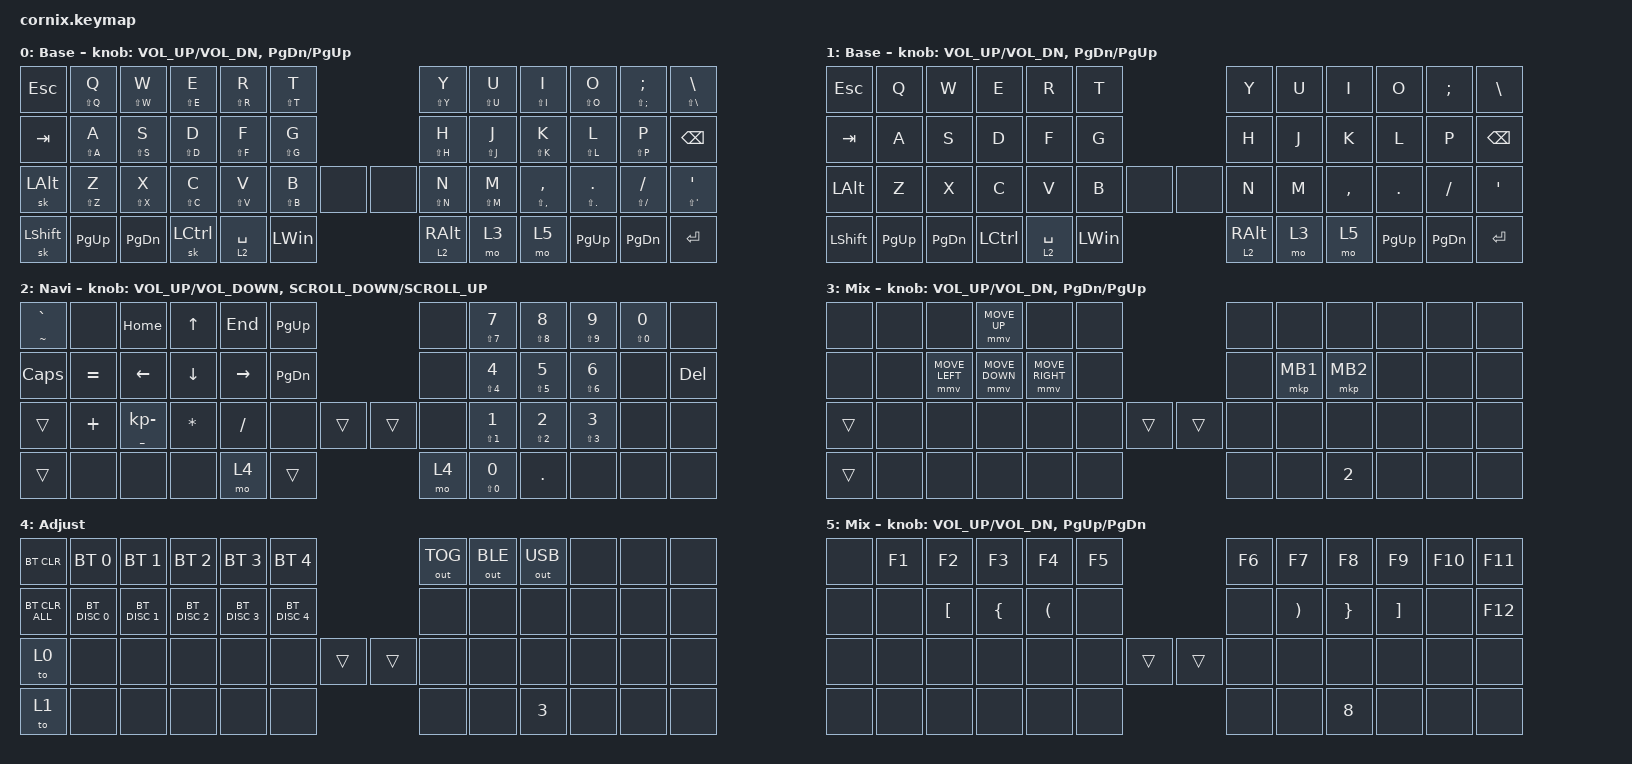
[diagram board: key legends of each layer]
/*
 * Copyright (c) 2020 The ZMK Contributors
 *
 * SPDX-License-Identifier: MIT
 */

#include "zmk-helpers/helper.h"
#include "includes/cornix54.h"

// tap windows for ctl alt and gui

#define HM_TAPPING_TERM 250
#define HM_TAPPING_REPEAT 210

// quick tapping for shift

#define HM_TAPPING_TERM_FAST 200
#define HM_PRIOR_IDLE 70
#define BASE 0
#define WIN 1
#define LOWER 2
#define RAISE 3
#define ADJUST 4
#define NAVI   5
#define NUM    6
#define DEBUG  7

// https://github.com/urob/zmk-config/tree/main#timeless-homerow-mods

#define KEYS_L LT0 LT1 LT2 LT3 LT4 LT5 LM0 LM1 LM2 LM3 LM4 LM5 LB0 LB1 LB2 LB3 LB4 LB5  // left hand
#define KEYS_R RT0 RT1 RT2 RT3 RT4 RT5 RM0 RM1 RM2 RM3 RM4 RM5 RB0 RB1 RB2 RB3 RB4 RB5  // right hand
#define THUMBS LH1 LH0 RH0 RH1
#define KEYS_T LH1 LH0 RH0 RH1
#define ZMK_POINTING_DEFAULT_SCRL_VAL 15

#include <behaviors.dtsi>
#include <dt-bindings/zmk/bt.h>
#include <dt-bindings/zmk/keys.h>
#include <dt-bindings/zmk/outputs.h>
#include <dt-bindings/zmk/pointing.h>

/ {
    // Activate ADJUST layer by pressing raise and lower

    behaviors {
        hm_l: homerow_mods_left {
            compatible = "zmk,behavior-hold-tap";
            #binding-cells = <2>;
            bindings = <&kp>, <&kp>;

            flavor = "balanced";
            tapping-term-ms = <HM_TAPPING_TERM>;
            quick-tap-ms = <200>;                // repeat on tap-into-hold
            require-prior-idle-ms = <HM_PRIOR_IDLE>;
            hold-trigger-key-positions = <KEYS_R KEYS_T>;
            hold-trigger-on-release;
        };

        hm_r: homerow_mods_right {
            compatible = "zmk,behavior-hold-tap";
            #binding-cells = <2>;
            bindings = <&kp>, <&kp>;

            flavor = "balanced";
            tapping-term-ms = <HM_TAPPING_TERM>;
            quick-tap-ms = <200>;
            require-prior-idle-ms = <HM_PRIOR_IDLE>;
            hold-trigger-key-positions = <KEYS_L KEYS_T>;
            hold-trigger-on-release;
        };

        // Positional Homerow mods for shift
        // Use faster tapping term and disable some features that may
        // cause false negatives.

        hm_shift_l: hm_shift_l {
            compatible = "zmk,behavior-hold-tap";
            #binding-cells = <2>;
            bindings = <&kp>, <&kp>;

            //flavor = "balanced";

            flavor = "balanced";
            tapping-term-ms = <HM_TAPPING_TERM_FAST>;
            quick-tap-ms = <200>;
            require-prior-idle-ms = <HM_PRIOR_IDLE>;
            hold-trigger-key-positions = <KEYS_R KEYS_T>;
            hold-trigger-on-release;
        };

        hm_shift_r: hm_shift_r {
            compatible = "zmk,behavior-hold-tap";
            #binding-cells = <2>;
            bindings = <&kp>, <&kp>;

            flavor = "balanced";
            tapping-term-ms = <HM_TAPPING_TERM_FAST>;
            quick-tap-ms = <200>;
            require-prior-idle-ms = <HM_PRIOR_IDLE>;
            hold-trigger-key-positions = <KEYS_L KEYS_T>;

            // for quick tapping; shift+~

            hold-trigger-on-release;
        };

        /*
         * Non-Positional Homerow Mods
         * Used for &mm_grescm_gui behavior on left hand.
         *
         * Usage: &hm LSHFT T
         * Tap: T
         * Tap-Tap-Hold: Repeat T
         * Hold: LSHIFT
         */

        hm: homerow_mods {
            compatible = "zmk,behavior-hold-tap";
            #binding-cells = <2>;
            bindings = <&kp>, <&kp>;

            flavor = "balanced";
            tapping-term-ms = <HM_TAPPING_TERM>;
            quick-tap-ms = <200>;
        };

        lt: layer_tap {
            compatible = "zmk,behavior-hold-tap";
            #binding-cells = <2>;
            bindings = <&mo>, <&kp>;

            flavor = "hold-preferred";
            tapping-term-ms = <HM_TAPPING_TERM>;
            quick-tap-ms = <200>;
        };

        autoShift: autoShift {
            compatible = "zmk,behavior-hold-tap";
            label = "AUTOSHIFT";
            bindings = <&kp>, <&kp>;

            #binding-cells = <2>;
            tapping-term-ms = <250>;
            flavor = "tap-preferred";
        };
    };

    conditional_layers { compatible = "zmk,conditional-layers"; };

    combos { compatible = "zmk,combos"; };

    keymap {
        compatible = "zmk,keymap";

        default_layer {
            display-name = "Base";

            // ------------------------------------------------------------------------------------------------------------
            // |   `   |  1  |  2  |  3   |  4   |  5   |                   |  6   |  7    |  8    |  9   |   0   |       |
            // |  ESC  |  Q  |  W  |  E   |  R   |  T   |                   |  Y   |  U    |  I    |  O   |   P   | BKSPC |
            // |  TAB  |  A  |  S  |  D   |  F   |  G   |                   |  H   |  J    |  K    |  L   |   ;   |   '   |
            // | SHIFT |  Z  |  X  |  C   |  V   |  B   |  MUTE  |  |       |  N   |  M    |  ,    |  .   |   /   | SHIFT |
            //               | GUI | ALT  | CTRL | LOWER|  ENTER |  | SPACE | RAISE| CTRL  | ALT   | GUI  |

            bindings = <
&kp ESC    &autoShift LS(Q) Q  &autoShift LS(W) W  &autoShift LS(E) E  &autoShift LS(R) R  &autoShift LS(T) T                &autoShift LS(Y) Y  &autoShift LS(U) U  &autoShift LS(I) I          &autoShift LS(O) O            &autoShift LS(SEMICOLON) SEMICOLON  &autoShift LS(BSLH) BSLH
&kp TAB    &autoShift LS(A) A  &autoShift LS(S) S  &autoShift LS(D) D  &autoShift LS(F) F  &autoShift LS(G) G                &autoShift LS(H) H  &autoShift LS(J) J  &autoShift LS(K) K          &autoShift LS(L) L            &autoShift LS(P) P                  &kp BACKSPACE
&sk LALT   &autoShift LS(Z) Z  &autoShift LS(X) X  &autoShift LS(C) C  &autoShift LS(V) V  &autoShift LS(B) B  &none  &none  &autoShift LS(N) N  &autoShift LS(M) M  &autoShift LS(COMMA) COMMA  &autoShift LS(PERIOD) PERIOD  &autoShift LS(SLASH) SLASH          &autoShift LS(SQT) SQT
&sk LSHFT  &kp PAGE_UP         &kp PAGE_DOWN       &sk LCTRL           &lt 2 SPACE         &kp LEFT_WIN                      &lt 2 RIGHT_ALT     &mo 3               &mo 5                       &kp PAGE_UP                   &kp PAGE_DOWN                       &kp ENTER
            >;

            sensor-bindings =
                <&inc_dec_kp C_VOL_UP C_VOL_DN>,
                <&inc_dec_kp PG_DN PG_UP>;
        };

        autooffLayer {
            display-name = "Base";
            bindings = <
&kp ESC    &kp Q        &kp W          &kp E      &kp R        &kp T                       &kp Y            &kp U  &kp I      &kp O        &kp SEMI       &kp BSLH
&kp TAB    &kp A        &kp S          &kp D      &kp F        &kp G                       &kp H            &kp J  &kp K      &kp L        &kp P          &kp BACKSPACE
&kp LALT   &kp Z        &kp X          &kp C      &kp V        &kp B         &none  &none  &kp N            &kp M  &kp COMMA  &kp DOT      &kp FSLH       &kp APOS
&kp LSHFT  &kp PAGE_UP  &kp PAGE_DOWN  &kp LCTRL  &lt 2 SPACE  &kp LEFT_WIN                &lt 2 RIGHT_ALT  &mo 3  &mo 5      &kp PAGE_UP  &kp PAGE_DOWN  &kp ENTER
            >;

            sensor-bindings =
                <&inc_dec_kp C_VOL_UP C_VOL_DN>,
                <&inc_dec_kp PG_DN PG_UP>;
        };

        Num_layer {
            display-name = "Navi";
            bindings = <
&autoShift TILDE GRAVE  &none      &kp HOME                   &kp UP_ARROW    &kp END          &kp PAGE_UP                    &none  &autoShift LS(N7) N7              &autoShift LS(N8) N8              &autoShift LS(N9) N9              &autoShift LS(N0) N0  &none
&kp CAPS                &kp EQUAL  &kp LEFT_ARROW             &kp DOWN_ARROW  &kp RIGHT_ARROW  &kp PAGE_DOWN                  &none  &autoShift LS(NUMBER_4) NUMBER_4  &autoShift LS(N5) N5              &autoShift LS(NUMBER_6) NUMBER_6  &none                 &kp DEL
&trans                  &kp PLUS   &autoShift UNDER KP_MINUS  &kp ASTERISK    &kp SLASH        &none          &trans  &trans  &none  &autoShift LS(NUMBER_1) NUMBER_1  &autoShift LS(NUMBER_2) NUMBER_2  &autoShift LS(NUMBER_3) NUMBER_3  &none                 &none
&trans                  &none      &none                      &none           &mo 4            &trans                         &mo 4  &autoShift LS(NUMBER_0) NUMBER_0  &kp DOT                           &none                             &none                 &none
            >;

            sensor-bindings =
                <&inc_dec_kp C_VOLUME_UP C_VOLUME_DOWN>,
                <&inc_dec_kp K_SCROLL_DOWN K_SCROLL_UP>;
        };

        Mouse_layer {
            display-name = "Mix";

            // ------------------------------------------------------------------------------------------------------------
            // | BTCLR | BT1  | BT2  |  BT3  |  BT4  |  BT5 |                |      |      |       |      |       |       |
            // |       | INS  | PSCR | GUI   |       |      |                | PGUP |      |   ^   |      |       |       |
            // |       | ALT  | CTRL | SHIFT |       | CAPS |                | PGDN |   <- |   v   |  ->  |  DEL  | BKSPC |
            // |       | UNDO | CUT  | COPY  | PASTE |      |      |  |      |      |      |       |      |       |       |
            //                |      |       |       |      |      |  |      |      |      |       |      |

            bindings = <
&none   &none  &none           &mmv MOVE_UP    &none            &none                  &none  &none     &none         &none  &none  &none
&none   &none  &mmv MOVE_LEFT  &mmv MOVE_DOWN  &mmv MOVE_RIGHT  &none                  &none  &mkp MB1  &mkp MB2      &none  &none  &none
&trans  &none  &none           &none           &none            &none  &trans  &trans  &none  &none     &none         &none  &none  &none
&trans  &none  &none           &none           &none            &none                  &none  &none     &kp NUMBER_2  &none  &none  &none
            >;

            sensor-bindings =
                <&inc_dec_kp C_VOL_UP C_VOL_DN>,
                <&inc_dec_kp PG_DN PG_UP>;
        };

        Adjust_layer {
            display-name = "Adjust";

            // ----------------------------------------------------------------------------------------------------------------------------
            // | BTCLR  |  BT1    |  BT2    |   BT3   |   BT4   |   BT5   |                  |      |      |       |      |       |       |
            // | moDEBUG| RGB_HUD | RGB_HUI | RGB_SAD | RGB_SAI | RGB_EFF |                  |      |      |       |      |       |       |
            // | EXTPWR | RGB_BRD | RGB_BRI |         |         |         |                  |      |      |       |      |       |       |
            // |        |         |         |         |         |         | RGB_TOG | |      |      |      |       |      |       |       |
            //                    |         |         |         |         |         | |      |      |      |       |      |

            bindings = <
&bt BT_CLR      &bt BT_SEL 0   &bt BT_SEL 1   &bt BT_SEL 2   &bt BT_SEL 3   &bt BT_SEL 4                   &out OUT_TOG  &out OUT_BLE  &out OUT_USB  &none  &none  &none
&bt BT_CLR_ALL  &bt BT_DISC 0  &bt BT_DISC 1  &bt BT_DISC 2  &bt BT_DISC 3  &bt BT_DISC 4                  &none         &none         &none         &none  &none  &none
&to 0           &none          &none          &none          &none          &none          &trans  &trans  &none         &none         &none         &none  &none  &none
&to 1           &none          &none          &none          &none          &none                          &none         &none         &kp NUMBER_3  &none  &none  &none
            >;
        };

        layerF {
            display-name = "Mix";
            bindings = <
&none  &kp F1  &kp F2            &kp F3          &kp F4                &kp F5                  &kp F6  &kp F7                 &kp F8           &kp F9             &kp F10  &kp F11
&none  &none   &kp LEFT_BRACKET  &kp LEFT_BRACE  &kp LEFT_PARENTHESIS  &none                   &none   &kp RIGHT_PARENTHESIS  &kp RIGHT_BRACE  &kp RIGHT_BRACKET  &none    &kp F12
&none  &none   &none             &none           &none                 &none   &trans  &trans  &none   &none                  &none            &none              &none    &none
&none  &none   &none             &none           &none                 &none                   &none   &none                  &kp N8           &none              &none    &none
            >;

            sensor-bindings =
                <&inc_dec_kp C_VOL_UP C_VOL_DN>,
                <&inc_dec_kp PG_UP PG_DN>;
        };
    };
};
